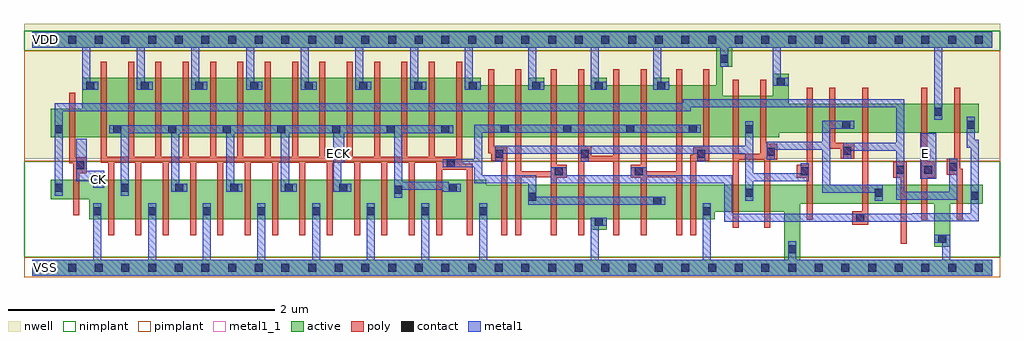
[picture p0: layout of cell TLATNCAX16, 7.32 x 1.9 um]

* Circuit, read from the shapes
.subckt TLATNCAX16 CK E ECK VDD VSS
M1 VSS CK n1 VSS nfet w=0.145u l=0.045u
M2 ECK n2 VSS VSS nfet w=0.295u l=0.045u m=14
M3 n3 n4 VSS VSS nfet w=0.26u l=0.045u
M4 n2 n5 n3 VSS nfet w=0.26u l=0.045u
M5 n6 n5 n2 VSS nfet w=0.26u l=0.045u
M6 VSS n4 n6 VSS nfet w=0.26u l=0.045u
M7 n7 n4 VSS VSS nfet w=0.26u l=0.045u
M8 n2 n5 n7 VSS nfet w=0.26u l=0.045u
M9 n8 n5 n2 VSS nfet w=0.26u l=0.045u
M10 VSS n4 n8 VSS nfet w=0.26u l=0.045u
M11 n4 n9 VSS VSS nfet w=0.205u l=0.045u m=2
M12 n10 n4 VSS VSS nfet w=0.145u l=0.045u
M13 n9 n5 n10 VSS nfet w=0.145u l=0.045u
M14 n11 n1 n9 VSS nfet w=0.145u l=0.045u
M15 VSS E n11 VSS nfet w=0.145u l=0.045u
M16 n5 n1 VSS VSS nfet w=0.145u l=0.045u
M17 VDD CK n1 VDD pfet w=0.215u l=0.045u
M18 ECK n2 VDD VDD pfet w=0.445u l=0.045u m=14
M19 n2 n4 VDD VDD pfet w=0.39u l=0.045u m=4
M20 VDD n5 n2 VDD pfet w=0.39u l=0.045u m=4
M21 n4 n9 VDD VDD pfet w=0.31u l=0.045u m=2
M22 n12 n4 VDD VDD pfet w=0.215u l=0.045u
M23 n9 n1 n12 VDD pfet w=0.215u l=0.045u
M24 n13 n5 n9 VDD pfet w=0.215u l=0.045u
M25 VDD E n13 VDD pfet w=0.215u l=0.045u
M26 n5 n1 VDD VDD pfet w=0.215u l=0.045u
.ends

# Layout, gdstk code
import gdstk
lib = gdstk.Library(unit=1e-6, precision=5e-10)
def R(c, l, rs):  # rectangles x0, y0, x1, y1
    for r in rs: c.add(gdstk.rectangle(r[:2], r[2:], *l))
def A(c, l, x, y, w, h, nx, ny, dx, dy):  # array of equal rectangles
    R(c, l, [(x+i*dx, y+j*dy, x+i*dx+w, y+j*dy+h) for i in range(nx) for j in range(ny)])
def P(c, l, *ps):  # polygons
    for p in ps: c.add(gdstk.Polygon(p, *l))
active = (1, 0)
nwell = (2, 0)
poly = (3, 0)
nimplant = (4, 0)
pimplant = (5, 0)
contact = (6, 0)
metal1 = (7, 0)
metal1_1 = (7, 1)

tlatncax16 = lib.new_cell('TLATNCAX16')
P(tlatncax16, active, [(0,1.77),(7.2,1.77),(7.2,1.65),(5.25,1.65),(5.25,1.51),(5.18,1.51),(5.18,1.29),(5.555,1.29),(5.555,1.455),(5.675,1.455),(5.675,1.23),(7.1,1.23),(7.1,1.015),(5.605,1.015),(5.605,0.98),(0.14,0.98),(0.14,1.195),(0.375,1.195),(0.375,1.425),(3.365,1.425),(3.365,1.37),(3.72,1.37),(3.72,1.425),(3.84,1.425),(3.84,1.37),(4.19,1.37),(4.19,1.425),(4.31,1.425),(4.31,1.37),(4.66,1.37),(4.66,1.425),(4.78,1.425),(4.78,1.37),(5.13,1.37),(5.13,1.65),(0,1.65)],
  [(0.14,0.66),(3.405,0.66),(3.405,0.625),(7.13,0.625),(7.13,0.48),(6.885,0.48),(6.885,0.16),(6.765,0.16),(6.765,0.48),(5.76,0.48),(5.76,0.06),(7.2,0.06),(7.2,-0.06),(0,-0.06),(0,0.06),(5.64,0.06),(5.64,0.42),(5.12,0.42),(5.12,0.365),(4.31,0.365),(4.31,0.285),(4.19,0.285),(4.19,0.365),(0.43,0.365),(0.43,0.515),(0.14,0.515)])
R(tlatncax16, nwell, [(-0.06,0.82,7.26,1.83)])
P(tlatncax16, poly, [(0.515,1.545),(0.56,1.545),(0.56,0.835),(0.72,0.835),(0.72,1.545),(0.765,1.545),(0.765,0.835),(0.925,0.835),(0.925,1.545),(0.97,1.545),(0.97,0.835),(1.13,0.835),(1.13,1.545),(1.175,1.545),(1.175,0.835),(1.335,0.835),(1.335,1.545),(1.38,1.545),(1.38,0.835),(1.54,0.835),(1.54,1.545),(1.585,1.545),(1.585,0.835),(1.745,0.835),(1.745,1.545),(1.79,1.545),(1.79,0.835),(1.95,0.835),(1.95,1.545),(1.995,1.545),(1.995,0.835),(2.155,0.835),(2.155,1.545),(2.2,1.545),(2.2,0.835),(2.36,0.835),(2.36,1.545),(2.405,1.545),(2.405,0.835),(2.565,0.835),(2.565,1.545),(2.61,1.545),(2.61,0.835),(2.77,0.835),(2.77,1.545),(2.815,1.545),(2.815,0.835),(2.975,0.835),(2.975,1.545),(3.02,1.545),(3.02,0.835),(3.18,0.835),(3.18,1.545),(3.225,1.545),(3.225,0.78),(3.305,0.78),(3.305,0.245),(3.26,0.245),(3.26,0.735),(3.075,0.735),(3.075,0.245),(3.03,0.245),(3.03,0.79),(2.87,0.79),(2.87,0.245),(2.825,0.245),(2.825,0.79),(2.665,0.79),(2.665,0.245),(2.62,0.245),(2.62,0.79),(2.46,0.79),(2.46,0.245),(2.415,0.245),(2.415,0.79),(2.255,0.79),(2.255,0.245),(2.21,0.245),(2.21,0.79),(2.05,0.79),(2.05,0.245),(2.005,0.245),(2.005,0.79),(1.845,0.79),(1.845,0.245),(1.8,0.245),(1.8,0.79),(1.64,0.79),(1.64,0.245),(1.595,0.245),(1.595,0.79),(1.435,0.79),(1.435,0.245),(1.39,0.245),(1.39,0.79),(1.23,0.79),(1.23,0.245),(1.185,0.245),(1.185,0.79),(1.025,0.79),(1.025,0.245),(0.98,0.245),(0.98,0.79),(0.82,0.79),(0.82,0.245),(0.775,0.245),(0.775,0.79),(0.615,0.79),(0.615,0.245),(0.57,0.245),(0.57,0.79),(0.515,0.79)],
  [(0.28,1.315),(0.325,1.315),(0.325,0.83),(0.41,0.83),(0.41,0.71),(0.355,0.71),(0.355,0.395),(0.31,0.395),(0.31,0.785),(0.28,0.785)],
  [(3.42,1.49),(3.465,1.49),(3.465,0.905),(3.565,0.905),(3.565,0.245),(3.52,0.245),(3.52,0.805),(3.445,0.805),(3.445,0.86),(3.42,0.86)],
  [(3.625,1.49),(3.67,1.49),(3.67,0.725),(3.89,0.725),(3.89,1.49),(3.935,1.49),(3.935,0.775),(4.01,0.775),(4.01,0.675),(3.935,0.675),(3.935,0.245),(3.89,0.245),(3.89,0.68),(3.67,0.68),(3.67,0.245),(3.625,0.245)],
  [(4.095,1.49),(4.14,1.49),(4.14,0.915),(4.195,0.915),(4.195,0.84),(4.36,0.84),(4.36,1.49),(4.405,1.49),(4.405,0.245),(4.36,0.245),(4.36,0.795),(4.14,0.795),(4.14,0.245),(4.095,0.245)],
  [(4.565,1.49),(4.61,1.49),(4.61,0.725),(4.83,0.725),(4.83,1.49),(4.875,1.49),(4.875,0.245),(4.83,0.245),(4.83,0.68),(4.61,0.68),(4.61,0.245),(4.565,0.245),(4.565,0.675),(4.49,0.675),(4.49,0.775),(4.565,0.775)],
  [(5.035,1.49),(5.08,1.49),(5.08,0.805),(4.98,0.805),(4.98,0.245),(4.935,0.245),(4.935,0.85),(4.96,0.85),(4.96,0.905),(5.035,0.905)],
  [(5.255,1.41),(5.3,1.41),(5.3,0.855),(5.46,0.855),(5.46,1.41),(5.505,1.41),(5.505,0.93),(5.59,0.93),(5.59,0.81),(5.535,0.81),(5.535,0.3),(5.49,0.3),(5.49,0.81),(5.3,0.81),(5.3,0.3),(5.255,0.3)],
  [(5.81,1.35),(5.855,1.35),(5.855,0.36),(5.81,0.36),(5.81,0.675),(5.735,0.675),(5.735,0.775),(5.81,0.775)],
  [(5.98,1.35),(6.025,1.35),(6.025,0.94),(6.165,0.94),(6.165,0.82),(6.065,0.82),(6.065,0.895),(5.98,0.895)],
  [(6.225,1.35),(6.27,1.35),(6.27,0.325),(6.15,0.325),(6.15,0.425),(6.225,0.425)],
  [(6.67,1.35),(6.715,1.35),(6.715,0.795),(6.77,0.795),(6.77,0.675),(6.715,0.675),(6.715,0.36),(6.67,0.36)],
  [(6.915,1.35),(6.96,1.35),(6.96,0.745),(6.98,0.745),(6.98,0.36),(6.935,0.36),(6.935,0.7),(6.86,0.7),(6.86,0.82),(6.915,0.82)],
  [(6.46,0.795),(6.56,0.795),(6.56,0.18),(6.515,0.18),(6.515,0.675),(6.46,0.675)])
R(tlatncax16, nimplant, [(-0.06,0.08,7.26,0.8), (-0.06,1.63,7.26,1.78)])
R(tlatncax16, pimplant, [(-0.06,-0.07,7.26,0.08), (-0.06,0.8,7.26,1.63)])
A(tlatncax16, contact, 0.07, -0.03, 0.06, 0.06, 36, 2, 0.2, 1.71)
A(tlatncax16, contact, 0.46, 0.395, 0.06, 0.06, 7, 1, 0.41, 0)
A(tlatncax16, contact, 0.665, 0.57, 0.06, 0.06, 5, 1, 0.41, 0)
A(tlatncax16, contact, 0.61, 1.01, 0.06, 0.06, 7, 1, 0.41, 0)
A(tlatncax16, contact, 3.515, 1.015, 0.06, 0.06, 4, 1, 0.47, 0)
A(tlatncax16, contact, 0.405, 1.335, 0.06, 0.06, 8, 1, 0.41, 0)
A(tlatncax16, contact, 3.75, 1.335, 0.06, 0.06, 3, 1, 0.47, 0)
R(tlatncax16, contact, [(5.67,0.11,5.73,0.17), (6.795,0.19,6.855,0.25), (4.22,0.315,4.28,0.375), (6.18,0.345,6.24,0.405), (3.355,0.395,3.415,0.455), (5.03,0.395,5.09,0.455), (4.66,0.475,4.72,0.535), (3.72,0.505,3.78,0.565), (7.04,0.51,7.1,0.57), (5.35,0.535,5.41,0.595), (6.32,0.535,6.38,0.595), (2.715,0.555,2.775,0.615), (0.17,0.57,0.23,0.63), (3.125,0.57,3.185,0.63), (3.92,0.695,3.98,0.755), (4.52,0.695,4.58,0.755), (5.765,0.695,5.825,0.755), (6.48,0.705,6.54,0.765), (6.69,0.705,6.75,0.765), (6.88,0.73,6.94,0.79), (0.33,0.74,0.39,0.8), (3.11,0.755,3.17,0.815), (3.475,0.825,3.535,0.885), (4.115,0.825,4.175,0.885), (4.99,0.825,5.05,0.885), (5.51,0.84,5.57,0.9), (6.085,0.85,6.145,0.91), (0.17,1.01,0.23,1.07), (5.35,1.01,5.41,1.07), (6.075,1.045,6.135,1.105), (7.01,1.045,7.07,1.105), (6.765,1.14,6.825,1.2), (5.585,1.365,5.645,1.425), (5.16,1.54,5.22,1.6)])
R(tlatncax16, metal1, [(6.66,0.67,6.78,1.01)])
P(tlatncax16, metal1, [(0,1.77),(7.2,1.77),(7.2,1.65),(6.825,1.65),(6.825,1.11),(6.765,1.11),(6.765,1.65),(5.615,1.65),(5.615,1.425),(5.675,1.425),(5.675,1.365),(5.555,1.365),(5.555,1.65),(5.22,1.65),(5.22,1.51),(5.16,1.51),(5.16,1.65),(4.72,1.65),(4.72,1.395),(4.78,1.395),(4.78,1.335),(4.66,1.335),(4.66,1.65),(4.25,1.65),(4.25,1.395),(4.31,1.395),(4.31,1.335),(4.19,1.335),(4.19,1.65),(3.78,1.65),(3.78,1.395),(3.84,1.395),(3.84,1.335),(3.72,1.335),(3.72,1.65),(3.305,1.65),(3.305,1.395),(3.365,1.395),(3.365,1.335),(3.245,1.335),(3.245,1.65),(2.895,1.65),(2.895,1.395),(2.955,1.395),(2.955,1.335),(2.835,1.335),(2.835,1.65),(2.485,1.65),(2.485,1.395),(2.545,1.395),(2.545,1.335),(2.425,1.335),(2.425,1.65),(2.075,1.65),(2.075,1.395),(2.135,1.395),(2.135,1.335),(2.015,1.335),(2.015,1.65),(1.665,1.65),(1.665,1.395),(1.725,1.395),(1.725,1.335),(1.605,1.335),(1.605,1.65),(1.255,1.65),(1.255,1.395),(1.315,1.395),(1.315,1.335),(1.195,1.335),(1.195,1.65),(0.845,1.65),(0.845,1.395),(0.905,1.395),(0.905,1.335),(0.785,1.335),(0.785,1.65),(0.435,1.65),(0.435,1.395),(0.495,1.395),(0.495,1.335),(0.375,1.335),(0.375,1.65),(0,1.65)],
  [(4.88,1.265),(6.54,1.265),(6.54,0.57),(6.88,0.57),(6.88,0.82),(6.94,0.82),(6.94,0.51),(6.48,0.51),(6.48,0.88),(6.145,0.88),(6.145,0.82),(6.085,0.82),(6.085,0.94),(6.48,0.94),(6.48,1.205),(4.94,1.205),(4.94,1.175),(0.23,1.175),(0.23,0.54),(0.17,0.54),(0.17,1.235),(4.88,1.235)],
  [(5.35,1.1),(5.41,1.1),(5.41,0.71),(5.765,0.71),(5.765,0.785),(5.825,0.785),(5.825,0.65),(5.41,0.65),(5.41,0.505),(5.35,0.505),(5.35,0.855),(5.05,0.855),(5.05,0.795),(4.99,0.795),(4.99,0.855),(4.175,0.855),(4.175,0.795),(4.115,0.795),(4.115,0.855),(3.535,0.855),(3.535,0.795),(3.475,0.795),(3.475,0.915),(5.35,0.915)],
  [(5.925,1.105),(6.165,1.105),(6.165,1.045),(5.985,1.045),(5.985,0.625),(6.38,0.625),(6.38,0.505),(6.32,0.505),(6.32,0.565),(5.925,0.565),(5.925,0.885),(5.57,0.885),(5.57,0.81),(5.51,0.81),(5.51,0.945),(5.925,0.945)],
  [(0.58,1.07),(3.16,1.07),(3.16,1.01),(2.775,1.01),(2.775,0.645),(3.125,0.645),(3.125,0.63),(3.215,0.63),(3.215,0.57),(3.08,0.57),(3.08,0.585),(2.775,0.585),(2.775,0.525),(2.715,0.525),(2.715,1.01),(2.34,1.01),(2.34,0.79),(2.32,0.79),(2.32,0.63),(2.395,0.63),(2.395,0.57),(2.26,0.57),(2.26,1.01),(1.93,1.01),(1.93,0.63),(1.985,0.63),(1.985,0.57),(1.865,0.57),(1.865,1.01),(1.515,1.01),(1.515,0.63),(1.575,0.63),(1.575,0.57),(1.455,0.57),(1.455,1.01),(1.105,1.01),(1.105,0.63),(1.165,0.63),(1.165,0.57),(1.045,0.57),(1.045,1.01),(0.725,1.01),(0.725,0.54),(0.665,0.54),(0.665,1.01),(0.58,1.01)],
  [(3.315,1.075),(5.015,1.075),(5.015,1.015),(3.375,1.015),(3.375,0.695),(3.78,0.695),(3.78,0.535),(4.75,0.535),(4.75,0.475),(3.72,0.475),(3.72,0.635),(3.315,0.635),(3.315,0.755),(3.08,0.755),(3.08,0.815),(3.315,0.815)],
  [(0.33,0.97),(0.41,0.97),(0.41,0.73),(0.54,0.73),(0.54,0.6),(0.46,0.6),(0.46,0.65),(0.33,0.65)],
  [(7.01,1.135),(7.07,1.135),(7.07,0.96),(7.1,0.96),(7.1,0.35),(6.665,0.35),(6.665,0.345),(5.19,0.345),(5.19,0.635),(3.89,0.635),(3.89,0.755),(4.01,0.755),(4.01,0.695),(4.49,0.695),(4.49,0.755),(4.61,0.755),(4.61,0.695),(5.25,0.695),(5.25,0.405),(6.605,0.405),(6.605,0.41),(7.04,0.41),(7.04,0.9),(7.01,0.9)],
  [(0.46,0.485),(0.52,0.485),(0.52,0.06),(0.87,0.06),(0.87,0.485),(0.93,0.485),(0.93,0.06),(1.28,0.06),(1.28,0.485),(1.34,0.485),(1.34,0.06),(1.69,0.06),(1.69,0.485),(1.75,0.485),(1.75,0.06),(2.1,0.06),(2.1,0.485),(2.16,0.485),(2.16,0.06),(2.51,0.06),(2.51,0.485),(2.57,0.485),(2.57,0.06),(2.92,0.06),(2.92,0.485),(2.98,0.485),(2.98,0.06),(3.355,0.06),(3.355,0.485),(3.415,0.485),(3.415,0.06),(4.19,0.06),(4.19,0.375),(4.31,0.375),(4.31,0.315),(4.25,0.315),(4.25,0.06),(5.03,0.06),(5.03,0.485),(5.09,0.485),(5.09,0.06),(5.67,0.06),(5.67,0.2),(5.73,0.2),(5.73,0.06),(6.825,0.06),(6.825,0.19),(6.765,0.19),(6.765,0.25),(6.885,0.25),(6.885,0.06),(7.2,0.06),(7.2,-0.06),(0,-0.06),(0,0.06),(0.46,0.06)])
R(tlatncax16, metal1_1, [(0.06,-0.04,0.14,0.04), (0.46,0.625,0.54,0.705), (2.26,0.815,2.34,0.895), (6.66,0.815,6.74,0.895), (0.06,1.67,0.14,1.75)])
tlatncax16.add(gdstk.Label('ECK', (2.3,0.855), layer=7, texttype=1))
tlatncax16.add(gdstk.Label('E', (6.7,0.855), layer=7, texttype=1))
tlatncax16.add(gdstk.Label('CK', (0.5,0.665), layer=7, texttype=1))
tlatncax16.add(gdstk.Label('VDD', (0.1,1.71), layer=7, texttype=1))
tlatncax16.add(gdstk.Label('VSS', (0.1,0), layer=7, texttype=1))
tlatncax16.add(gdstk.Label('TLATNCAX16', (0,0), layer=63, texttype=0))

lib.write_gds('TLATNCAX16.gds')
